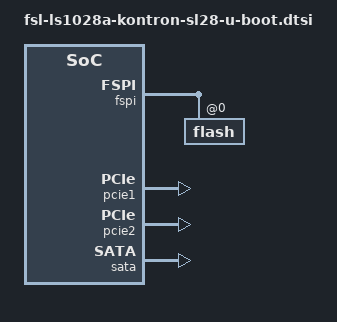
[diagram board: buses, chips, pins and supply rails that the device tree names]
// SPDX-License-Identifier: GPL-2.0+

#include <config.h>

/ {
	aliases {
		i2c0 = &i2c0;
		i2c1 = &i2c3;
		i2c2 = &i2c4;
		ethernet2 = &enetc_port2;
		ethernet3 = &enetc_port3;
	};

	binman: binman {
		multiple-images;
	};
};

&binman {
	u_boot_rom: u-boot-rom {
		filename = "u-boot.rom";
		pad-byte = <0xff>;

		u-boot-spl {
		};

		fit {
			offset = <CONFIG_SPL_PAD_TO>;
			description = "FIT image with multiple configurations";
			fit,fdt-list = "of-list";

			images {
				uboot {
					description = "U-Boot";
					type = "firmware";
					os = "u-boot";
					arch = "arm";
					compression = "none";
					load = <CONFIG_TEXT_BASE>;

					u-boot-nodtb {
					};
				};

				@fdt-SEQ {
					description = "NAME";
					type = "flat_dt";
					compression = "none";
				};
			};

			configurations {
				default = "@config-DEFAULT-SEQ";

				@config-SEQ {
					description = "NAME";
					firmware = "uboot";
					fdt = "fdt-SEQ";
				};
			};
		};
	};
};

&binman {
	u-boot-update {
		filename = "u-boot-update.bin";

		fit {
			description = "FIT update image";

			images {
				u-boot-bin {
					description = "U-Boot";
					type = "firmware";
					os = "u-boot";
					arch = "arm";
					compression = "none";
					load = <0>; /* unused */

					blob {
						filename = "u-boot.rom";
					};
				};
			};
		};
	};
};

#ifdef CONFIG_SL28_ENABLE_SER0_CONSOLE
/ {
	chosen {
		stdout-path = "serial2:115200n8";
	};
};
#endif

#ifdef CONFIG_SL28_SPL_LOADS_ATF_BL31
&u_boot_rom {
	fit {
		images {
			bl31 {
				description = "ARM Trusted Firmware (bl31)";
				type = "firmware";
				arch = "arm";
				os = "arm-trusted-firmware";
				compression = "none";
				load = <CONFIG_SL28_BL31_ENTRY_ADDR>;
				entry = <CONFIG_SL28_BL31_ENTRY_ADDR>;

				blob-ext {
					filename = "bl31.bin";
				};
			};
		};

		configurations {
			@config-SEQ {
				firmware = "bl31";
				loadables = "uboot";
			};
		};
	};
};
#endif

#ifdef CONFIG_SL28_SPL_LOADS_OPTEE_BL32
&u_boot_rom {
	fit {
		images {
			bl32 {
				description = "OP-TEE Trusted OS (bl32)";
				type = "firmware";
				arch = "arm";
				os = "tee";
				compression = "none";
				load = <CONFIG_SL28_BL32_ENTRY_ADDR>;
				entry = <CONFIG_SL28_BL32_ENTRY_ADDR>;

				blob-ext {
					filename = "tee.bin";
				};
			};
		};

		configurations {
			@config-SEQ {
				loadables = "uboot", "bl32";
			};
		};
	};
};
#endif

&fspi {
	bootph-all;
	flash@0 {
		bootph-all;
	};
};

&dspi2 {
	bootph-all;
};

&esdhc {
	bootph-all;
};

&esdhc1 {
	bootph-all;
};

&lpuart1 {
	bootph-all;
};

&duart0 {
	bootph-all;
};

/*
 * u-boot will enable the device in the linux device tree in place. Because
 * we are using the linux device tree, we have to enable the PCI controller
 * ourselves.
 */
&pcie1 {
	status = "okay";
};

&pcie2 {
	status = "okay";
};

&sata {
	status = "okay";
};

&soc {
	bootph-all;
};

&sysclk {
	bootph-all;
};
